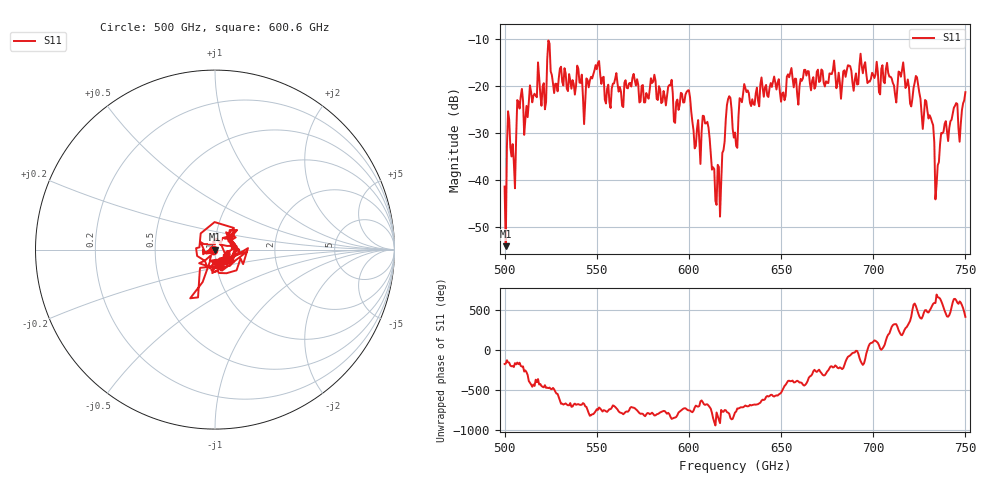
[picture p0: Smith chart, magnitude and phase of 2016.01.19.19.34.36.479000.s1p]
!Created with skrf (http://scikit-rf.org).
# GHz S RI R 50.0
!freq ReS11 ImS11
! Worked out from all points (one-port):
!   401 points, 500 GHz to 750 GHz, reference 50 ohm
!   lowest |S11| = -54.0 dB at 500.6 GHz (marker M1), VSWR 1.00, Z = 49.8 - j0.0319 ohm
!   |S11| at or under -10 dB: start of sweep to end of sweep
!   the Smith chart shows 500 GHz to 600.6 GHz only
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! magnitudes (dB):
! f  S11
! 500 GHz  -41.3
! 500.6 GHz  -54.0
! 502.5 GHz  -27.2
! 505 GHz  -36.2
! 508.1 GHz  -24.8
! 521.2 GHz  -19.4
! 524.4 GHz  -11.0
! 527.5 GHz  -19.5
! 531.2 GHz  -19.1
! 543.8 GHz  -23.1
! 550 GHz  -16.4
! 562.5 GHz  -20.2
! 580.6 GHz  -19.1
! 593.8 GHz  -22.9
! 599.4 GHz  -21.0
! 605 GHz  -27.2
! 608.8 GHz  -27.9
! 615.6 GHz  -36.7
! 621.2 GHz  -22.8
! 625 GHz  -29.9
! 630.6 GHz  -20.4
! 656.2 GHz  -18.4
! 687.5 GHz  -15.8
! 718.8 GHz  -18.6
! 729.4 GHz  -25.2
! 735 GHz  -36.8
! 738.1 GHz  -29.7
! 750 GHz  -21.3
